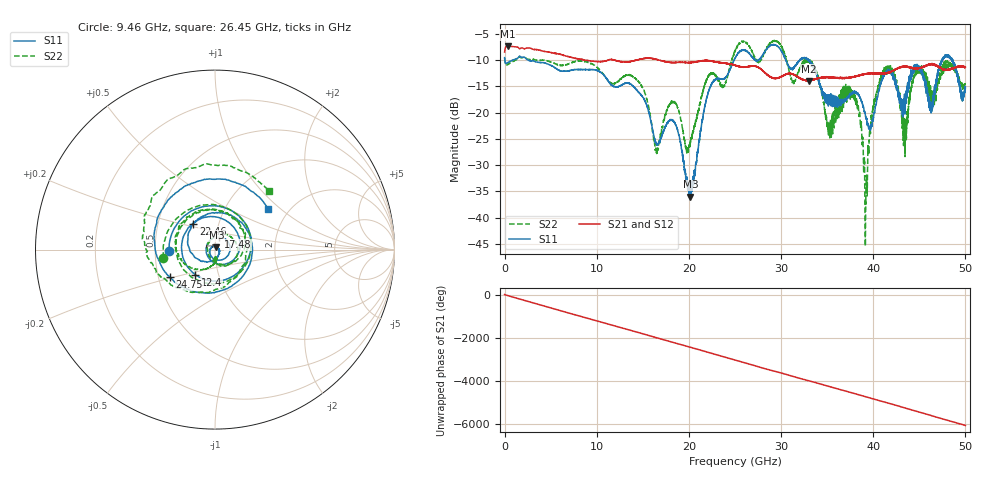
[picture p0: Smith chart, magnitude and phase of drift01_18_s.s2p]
!Created with skrf (http://scikit-rf.org).
# Hz S RI R 50.0
!freq ReS11 ImS11 ReS21 ImS21 ReS12 ImS12 ReS22 ImS22
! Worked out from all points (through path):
!   10001 points, 300 kHz to 50 GHz, reference 50 ohm
!   highest |S21| = -7.33 dB at 325.3 MHz (marker M1); lowest = -14.0 dB at 32.99 GHz (marker M2)
!   group delay of S21, straight-line fit = 335 ps
!   lowest |S11| = -36.0 dB at 20.17 GHz (marker M3), VSWR 1.03, Z = 50.8 + j1.4 ohm
!   |S11| at or under -10 dB: 2.557 GHz to 24.9 GHz (22.35 GHz wide, 163 % of centre); 30.51 GHz to 32.01 GHz (1.509 GHz wide, 4.83 % of centre); 33.04 GHz to 47.42 GHz (14.38 GHz wide, 35.7 % of centre) (the widest 3 of 24)
!   |S22| runs from -45.5 to -6.3 dB; largest |S21 - S12| = 0.0077
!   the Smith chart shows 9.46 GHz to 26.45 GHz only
!   S11 on the Smith chart (normalised r, x): 9.46 GHz: 0.59, -0.01; 12.4 GHz: 0.77, -0.22; 17.48 GHz: 1.03, +0.15; 22.46 GHz: 0.76, +0.22; 24.75 GHz: 0.58, -0.19; 26.45 GHz: 1.60, +0.82
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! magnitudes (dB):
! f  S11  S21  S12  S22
! 300 kHz  -9.5  -8.5  -8.5  -9.6
! 325.3 MHz  -10.5  -7.3  -7.3  -10.9
! 8.335 GHz  -11.8  -9.9  -9.9  -10.2
! 9.46 GHz  -11.8  -10.2  -10.2  -10.7
! 12.4 GHz  -15.0  -10.2  -10.2  -13.9
! 16.67 GHz  -26.1  -10.0  -9.9  -27.0
! 17.48 GHz  -22.6  -10.3  -10.3  -20.3
! 20.17 GHz  -36.0  -10.5  -10.5  -25.5
! 22.46 GHz  -14.5  -10.2  -10.2  -12.6
! 24.75 GHz  -10.6  -10.9  -10.9  -9.4
! 25 GHz  -9.6  -11.0  -11.0  -8.3
! 26.45 GHz  -8.5  -11.2  -11.2  -7.1
! 32.99 GHz  -9.9  -14.0  -13.8  -9.9
! 33.34 GHz  -10.8  -13.8  -13.8  -10.7
! 35.23 GHz  -17.5  -13.3  -13.3  -22.4
! 37.97 GHz  -16.0  -13.1  -13.1  -17.4
! 39.17 GHz  -20.7  -12.6  -12.6  -42.6
! 40.14 GHz  -20.0  -12.5  -12.5  -17.6
! 41.67 GHz  -12.1  -12.3  -12.3  -11.6
! 43.39 GHz  -17.5  -11.3  -11.2  -23.1
! 44.88 GHz  -11.4  -11.6  -11.6  -11.5
! 50 GHz  -15.3  -11.4  -11.4  -14.9
